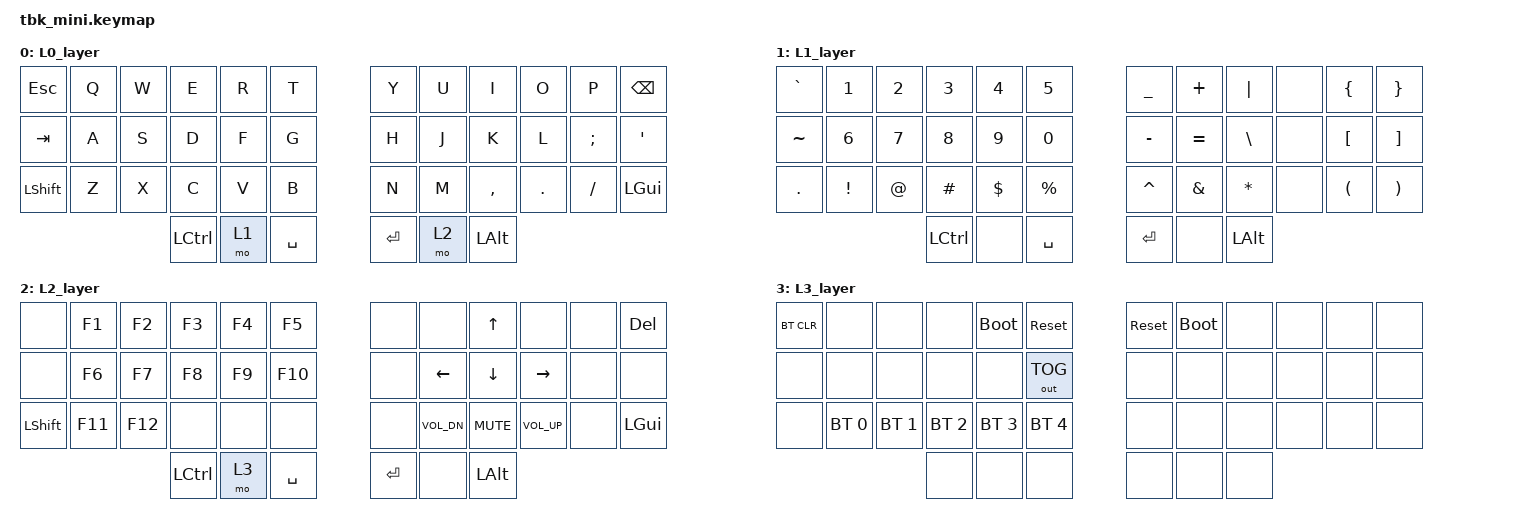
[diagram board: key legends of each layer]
// tbk_mini.keymap

#include <behaviors.dtsi>
#include <dt-bindings/zmk/keys.h>
#include <dt-bindings/zmk/bt.h>
#include <dt-bindings/zmk/outputs.h>

/ {
    keymap {
        compatible = "zmk,keymap";

        L0_layer {
            // -----------------------------------------------------------------------------------------
            // |  ESC |  Q  |  W  |  E  |  R  |  T  |   |  Y  |  U  |  I  |  O  |  P  | BKSP |
            // |  TAB |  A  |  S  |  D  |  F  |  G  |   |  H  |  J  |  K  |  L  |  ;  |  '   |
            // | SHFT |  Z  |  X  |  C  |  V  |  B  |   |  N  |  M  |  ,  |  .  |  /  |  GUI |
            //                    | CTRL|  1  | SPC |   | ENT |  2  | ALT |
            bindings = <
                &kp ESC    &kp Q   &kp W   &kp E   &kp R   &kp T        &kp Y   &kp U  &kp I     &kp O   &kp P    &kp BSPC
                &kp TAB    &kp A   &kp S   &kp D   &kp F   &kp G        &kp H   &kp J  &kp K     &kp L   &kp SEMI &kp SQT
                &kp LSHFT  &kp Z   &kp X   &kp C   &kp V   &kp B        &kp N   &kp M  &kp COMMA &kp DOT &kp FSLH &kp LGUI
                                    &kp LCTRL   &mo 1  &kp SPACE        &kp RET &mo 2  &kp LALT
            >;
        };

        L1_layer {
            // -----------------------------------------------------------------------------------------
            // |  `  |  1  |  2  |  3  |  4  |  5  |   |  _  |  +  |  |  |     |  {  |  }  |
            // |  ~  |  6  |  7  |  8  |  9  |  0  |   |  -  |  =  |  \  |     |  [  |  ]  |
            // |  .  |  !  |  @  |  #  |  $  |  %  |   |  ^  |  &  |  *  |     |  (  |  )  |
            //                   | CTRL|     | SPC |   | ENT |     | ALT |
            bindings = <
                &kp GRAVE &kp N1    &kp N2   &kp N3    &kp N4    &kp N5         &kp UNDER  &kp PLUS  &kp PIPE  &none  &kp LBRC  &kp RBRC
                &kp TILDE &kp N6    &kp N7   &kp N8    &kp N9    &kp N0         &kp MINUS  &kp EQUAL &kp BSLH  &none  &kp LBKT  &kp RBKT
                &kp DOT   &kp EXCL  &kp AT   &kp HASH  &kp DLLR  &kp PRCNT      &kp CARET  &kp AMPS  &kp STAR  &none  &kp LPAR  &kp RPAR
                                             &kp LCTRL &none     &kp SPACE      &kp RET    &none     &kp LALT
            >;
        };

        L2_layer {
            // -----------------------------------------------------------------------------------------
            // |     |  F1  |  F2  |  F3  |  F4  |  F5  |   |     |     |  UP |     |     |  DEL |
            // |     |  F6  |  F7  |  F8  |  F9  |  F10 |   |     | LEFT| DOWN|RIGHT|     |      |
            // | SHFT|  F11 |  F12 |      |      |      |   |     |VOLDN| MUTE|VOLUP|     |  GUI |
            //                     | CTRL |      |  SPC |   | ENT |     | ALT |
            bindings = <
                &none     &kp F1   &kp F2   &kp F3    &kp F4    &kp F5          &none     &none         &kp UP       &none         &none    &kp DEL
                &none     &kp F6   &kp F7   &kp F8    &kp F9    &kp F10         &none     &kp LEFT      &kp DOWN     &kp RIGHT     &none    &none
                &kp LSHFT &kp F11  &kp F12  &none     &none     &none           &none     &kp C_VOL_DN  &kp C_MUTE   &kp C_VOL_UP  &none    &kp LGUI
                                            &kp LCTRL &mo 3     &kp SPACE       &kp RET   &none         &kp LALT
            >;
        };


        L3_layer {
            // -----------------------------------------------------------------------------------------
            // | BTCLR|     |     |     | BOOT|RESET|   |RESET| BOOT|     |     |     |      |
            // |      |     |     |     |     | OUT |   |     |     |     |     |     |      |
            // |      | BT1 | BT2 | BT3 | BT4 | BT5 |   |     |     |     |     |     |      |
            //                    |     |     |     |   |     |     |     |
            bindings = <
                &bt BT_CLR  &none         &none         &none         &bootloader   &sys_reset          &sys_reset  &bootloader  &none  &none  &none  &none
                &none       &none         &none         &none         &none         &out OUT_TOG        &none       &none        &none  &none  &none  &none
                &none       &bt BT_SEL 0  &bt BT_SEL 1  &bt BT_SEL 2  &bt BT_SEL 3  &bt BT_SEL 4        &none       &none        &none  &none  &none  &none
                                                        &none         &none         &none               &none       &none        &none
            >;
        };
    };
};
